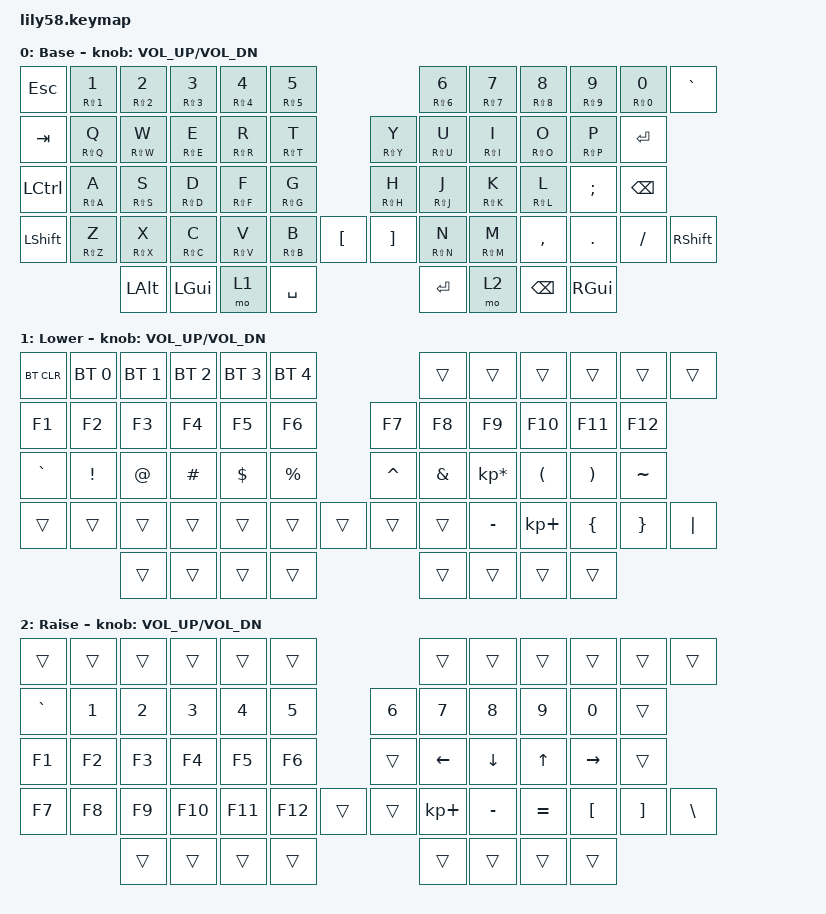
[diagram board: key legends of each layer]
/*
 * Copyright (c) 2020 The ZMK Contributors
 *
 * SPDX-License-Identifier: MIT
 */

#include <behaviors.dtsi>
#include <dt-bindings/zmk/keys.h>
#include <dt-bindings/zmk/bt.h>
#include <dt-bindings/zmk/ext_power.h>

#define BASE 0
#define NAVIGATION 1
#define MOUSE 2
#define SYMBOLS 3
#define NUMBERS 4
#define WINDOW_MANAGER 5
#define MODIFIERS 6


&mt {
	tapping-term-ms = <300>;
	flavor = "tap-preferred";
};

/ {
    keymap {
        compatible = "zmk,keymap";

        default_layer {

/*		BASE
  base layer contains autoshift on alpha and num chars	 

 * TODO
 - Link other layers
 - update def
 - tap dance for : , . ;


 ╭────────────────────────────────────────╮                              ╭─────────────────────────────────────────────╮
 |  ESC  |  1  |  2  |  3   |  4   |  5   |          		         |  6   |  7    |  8    |  9   |   0   |   `   |
 |  TAB  |  Q  |  W  |  E   |  R   |  T   |            		         |  Y   |  U    |  I    |  O   |   P   |   -   |
 |  CTRL |  A  |  S  |  D   |  F   |  G   ╰────────╮             ╭───────╯  H   |  J    |  K    |  L   |   ;   |   '   |
 | SHIFT |  Z  |  X  |  C   |  V   |  B   |   "-"  | 		 |  "+"  |  N   |  M    |  ,    |  .   |   /   | <def> |
 ╰──────────────────╮  ALT  | GUI  | LOWER|  SPACE | 		 | ENTER | RAISE| BSPC  | GUI   ╭──────────────────────╯	
 		    ╰──────────────────────────────╯		 ╰──────────────────────────────╯								
 */
label = "Base";
            bindings = <
&kp ESC   &mt RS(N1) N1     &mt RS(N2) N2    &mt RS(N3) N3    &mt RS(N4) N4   	&mt RS(N5) N5				&mt RS(N6) N6    &mt RS(N7) N7    &mt RS(N8) N8    &mt RS(N9) N9    &mt RS(N0) N0    &kp GRAVE
&kp TAB   &mt RS(Q) Q       &mt RS(W) W      &mt RS(E) E      &mt RS(R) R     	&mt RS(T) T				&mt RS(Y) Y      &mt RS(U) U      &mt RS(I) I      &mt RS(O) O      &mt RS(P) P      &kp RETURN
&kp LCTRL &mt RS(A) A       &mt RS(S) S      &mt RS(D) D      &mt RS(F) F       &mt RS(G) G				&mt RS(H) H      &mt RS(J) J      &mt RS(K) K      &mt RS(L) L      &kp SEMI 	     &kp BSPC
&kp LSHFT &mt RS(Z) Z       &mt RS(X) X      &mt RS(C) C      &mt RS(V) V       &mt RS(B) B  &kp LBKT         &kp RBKT  &mt RS(N) N      &mt RS(M) M      &kp COMMA	   &kp DOT          &kp FSLH         &kp RSHFT
                            &kp LALT         &kp LGUI         &mo 1             &kp SPACE                               &kp RET          &mo 2            &kp BSPC         &kp RGUI
            >;

            sensor-bindings = <&inc_dec_kp C_VOL_UP C_VOL_DN>;
        };

        lower_layer {
// ------------------------------------------------------------------------------------------------------------
// | BTCLR | BT1 | BT2 |  BT3 |  BT4 |  BT5 |                   |      |       |       |      |       |       |
// |  F1   |  F2 |  F3 |  F4  |  F5  |  F6  |                   |  F7  |  F8   |  F9   |  F10 |  F11  |  F12  |
// |   `   |  !  |  @  |  #   |  $   |  %   |                   |  ^   |  &    |  *    |  (   |   )   |   ~   |
// |       |     |     |      |      |      |        |  |       |      |  _    |  +    |  {   |   }   |  "|"  |
//                     |      |      |      |        |  |       |      |       |       |
            label = "Lower";
            bindings = <
&bt BT_CLR &bt BT_SEL 0     &bt BT_SEL 1      &bt BT_SEL 2      &bt BT_SEL 3 &bt BT_SEL 4                 &trans    &trans    &trans          &trans    &trans    &trans
&kp F1     &kp F2           &kp F3            &kp F4            &kp F5       &kp F6                       &kp F7    &kp F8    &kp F9          &kp F10   &kp F11   &kp F12
&kp GRAVE  &kp EXCL         &kp AT            &kp HASH          &kp DOLLAR   &kp PRCNT                    &kp CARET &kp AMPS  &kp KP_MULTIPLY &kp LPAR  &kp RPAR  &kp TILDE
&trans     &trans           &trans            &trans            &trans       &trans    &trans   &trans    &trans    &kp MINUS &kp KP_PLUS     &kp LBRC  &kp RBRC  &kp PIPE
                                              &trans            &trans       &trans    &trans   &trans    &trans    &trans    &trans
            >;

            sensor-bindings = <&inc_dec_kp C_VOL_UP C_VOL_DN>;
        };

        raise_layer {
// ------------------------------------------------------------------------------------------------------------
// |       |     |     |      |      |      |                   |      |       |       |      |       |       |
// |   `   |  1  |  2  |  3   |  4   |  5   |                   |  6   |   7   |   8   |  9   |   0   |       |
// |   F1  |  F2 |  F3 |  F4  |  F5  |  F6  |                   |      |   <-  |   v   |  ^   |  ->   |       |
// |   F7  |  F8 |  F9 |  F10 |  F11 |  F12 |        |  |       |  +   |   -   |   =   |  [   |   ]   |   \   |
//                     |      |      |      |        |  |       |      |       |       |
            label = "Raise";
            bindings = <
&trans    &trans &trans &trans  &trans  &trans                       &trans      &trans    &trans    &trans   &trans    &trans
&kp GRAVE &kp N1 &kp N2 &kp N3  &kp N4  &kp N5                       &kp N6      &kp N7    &kp N8    &kp N9   &kp N0    &trans
&kp F1    &kp F2 &kp F3 &kp F4  &kp F5  &kp F6                       &trans      &kp LEFT  &kp DOWN  &kp UP   &kp RIGHT &trans
&kp F7    &kp F8 &kp F9 &kp F10 &kp F11 &kp F12   &trans   &trans    &kp KP_PLUS &kp MINUS &kp EQUAL &kp LBKT &kp RBKT  &kp BSLH
                        &trans  &trans  &trans    &trans   &trans    &trans      &trans    &trans
            >;

            sensor-bindings = <&inc_dec_kp C_VOL_UP C_VOL_DN>;
        };
    };
};
